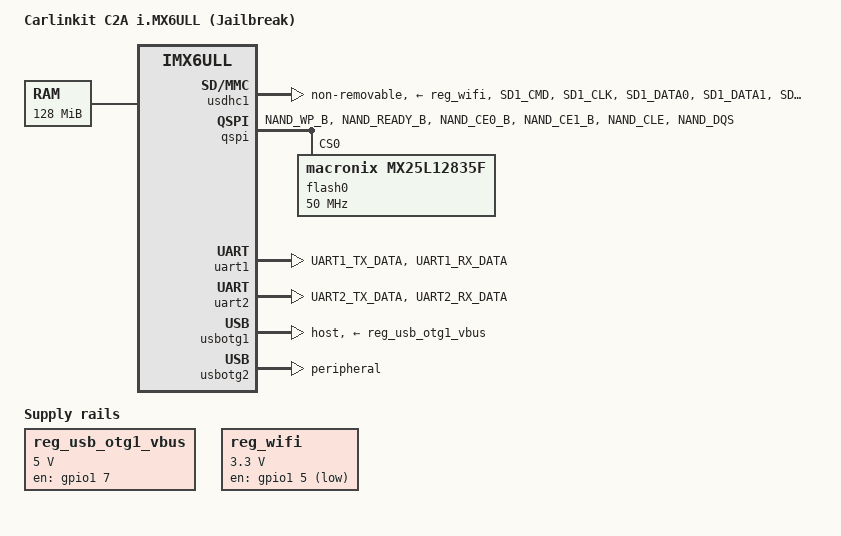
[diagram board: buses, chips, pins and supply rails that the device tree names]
/dts-v1/;

#include "imx6ull.dtsi"

/ {
	model = "Carlinkit C2A i.MX6ULL (Jailbreak)";
	compatible = "fsl,imx6ull", "fsl,c2a";

	chosen {
		stdout-path = &uart1;
	};

	memory@80000000 {
		device_type = "memory";
		reg = <0x80000000 0x08000000>; // 128 MB
	};
	
	aliases {
		serial0 = &uart1;
		spi0 = &qspi;
		mmc0 = &usdhc1;
	};

	reg_usb_otg1_vbus: regulator-usb-otg1 {
        compatible = "regulator-fixed";
        regulator-name = "usb_otg2_vbus";
        regulator-min-microvolt = <5000000>;
        regulator-max-microvolt = <5000000>;
        enable-active-high;
		/* as seen in init_gpio.sh */
        gpio = <&gpio1 7 GPIO_ACTIVE_HIGH>;
        regulator-always-on;
    };

	reg_wifi: regulator-wifi {
		compatible = "regulator-fixed";
		regulator-name = "wlreg_on";
		gpio = <&gpio1 5 GPIO_ACTIVE_LOW>;
		enable-active-low;
		regulator-min-microvolt = <3300000>;
		regulator-max-microvolt = <3300000>;
		regulator-always-on;
	};
};

&usdhc1 { /* Wi-Fi */
	pinctrl-names = "default", "state_100mhz", "state_200mhz";
	pinctrl-0 = <&pinctrl_usdhc1>;
	pinctrl-1 = <&pinctrl_usdhc1_100mhz>;
	pinctrl-2 = <&pinctrl_usdhc1_200mhz>;
	non-removable;
	no-1-8-v;
	keep-power-in-suspend;
	wakeup-source;
	vmmc-supply = <&reg_wifi>;

	status = "okay";
};

&qspi {
	pinctrl-names = "default";
	pinctrl-0 = <&pinctrl_qspi>;
	status = "okay";

	flash0: flash@0 {
		#address-cells = <1>;
		#size-cells = <1>;
		compatible = "macronix,mx25l12835f", "jedec,spi-nor";
		spi-max-frequency = <50000000>; /* possibly up to 60 */
		spi-rx-bus-width = <4>;         /* QSPI */
		spi-tx-bus-width = <1>;
		reg = <0>;
	};
};

&uart1 { /* serial */
	pinctrl-names = "default";
	pinctrl-0 = <&pinctrl_uart1>;
	status = "okay";
};

&uart2 { /* serial */
	pinctrl-names = "default";
	pinctrl-0 = <&pinctrl_uart2>;
	status = "okay";
};

&usbotg1 { /* USB-A (for a pendrive) */
	dr_mode = "host";
	status = "okay";
	vbus-supply = <&reg_usb_otg1_vbus>;

	disable-over-current;
};

&usbotg2 { /* USB-C (for fastboot) */
	dr_mode = "peripheral";
	status = "okay";

	srp-disable;
	hnp-disable;
	adp-disable;
	disable-over-current;
};

&usbphy1 {
	fsl,tx-d-cal = <106>; /* signal strength */
};

&usbphy2 {
	fsl,tx-d-cal = <106>; /* signal strength */
};

&iomuxc {
	pinctrl_uart1: uart1grp {
		fsl,pins = <
			MX6UL_PAD_UART1_TX_DATA__UART1_DCE_TX 0x1b0b1
			MX6UL_PAD_UART1_RX_DATA__UART1_DCE_RX 0x1b0b1
		>;
	};

	pinctrl_uart2: uart2grp {
		fsl,pins = <
			MX6UL_PAD_UART2_TX_DATA__UART2_DCE_TX  0x1b0b1
			MX6UL_PAD_UART2_RX_DATA__UART2_DCE_RX  0x1b0b1
		>;
	};

	pinctrl_qspi: qspigrp {
		fsl,pins = <
			MX6UL_PAD_NAND_WP_B__QSPI_A_SCLK        0x70a1
			MX6UL_PAD_NAND_READY_B__QSPI_A_DATA00   0x70a1
			MX6UL_PAD_NAND_CE0_B__QSPI_A_DATA01     0x70a1
			MX6UL_PAD_NAND_CE1_B__QSPI_A_DATA02     0x70a1
			MX6UL_PAD_NAND_CLE__QSPI_A_DATA03       0x70a1
			MX6UL_PAD_NAND_DQS__QSPI_A_SS0_B        0x70a1
		>;
	};

	pinctrl_usdhc1: usdhc1grp {
		fsl,pins = <
			MX6UL_PAD_SD1_CMD__USDHC1_CMD        0x17059
			MX6UL_PAD_SD1_CLK__USDHC1_CLK        0x10071
			MX6UL_PAD_SD1_DATA0__USDHC1_DATA0    0x17059
			MX6UL_PAD_SD1_DATA1__USDHC1_DATA1    0x17059
			MX6UL_PAD_SD1_DATA2__USDHC1_DATA2    0x17059
			MX6UL_PAD_SD1_DATA3__USDHC1_DATA3    0x17059
			/*MX6UL_PAD_UART1_RTS_B__GPIO1_IO19    0x17059
			MX6UL_PAD_GPIO1_IO05__USDHC1_VSELECT 0x17059
			MX6UL_PAD_GPIO1_IO09__GPIO1_IO09     0x17059*/
		>;
	};

	pinctrl_usdhc1_100mhz: usdhc1-100mhz-grp {
		fsl,pins = <
			MX6UL_PAD_SD1_CMD__USDHC1_CMD     0x170b9
			MX6UL_PAD_SD1_CLK__USDHC1_CLK     0x100b9
			MX6UL_PAD_SD1_DATA0__USDHC1_DATA0 0x170b9
			MX6UL_PAD_SD1_DATA1__USDHC1_DATA1 0x170b9
			MX6UL_PAD_SD1_DATA2__USDHC1_DATA2 0x170b9
			MX6UL_PAD_SD1_DATA3__USDHC1_DATA3 0x170b9
		>;
	};

	pinctrl_usdhc1_200mhz: usdhc1-200mhz-grp {
		fsl,pins = <
			MX6UL_PAD_SD1_CMD__USDHC1_CMD     0x170f9
			MX6UL_PAD_SD1_CLK__USDHC1_CLK     0x100f9
			MX6UL_PAD_SD1_DATA0__USDHC1_DATA0 0x170f9
			MX6UL_PAD_SD1_DATA1__USDHC1_DATA1 0x170f9
			MX6UL_PAD_SD1_DATA2__USDHC1_DATA2 0x170f9
			MX6UL_PAD_SD1_DATA3__USDHC1_DATA3 0x170f9
		>;
	};
};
